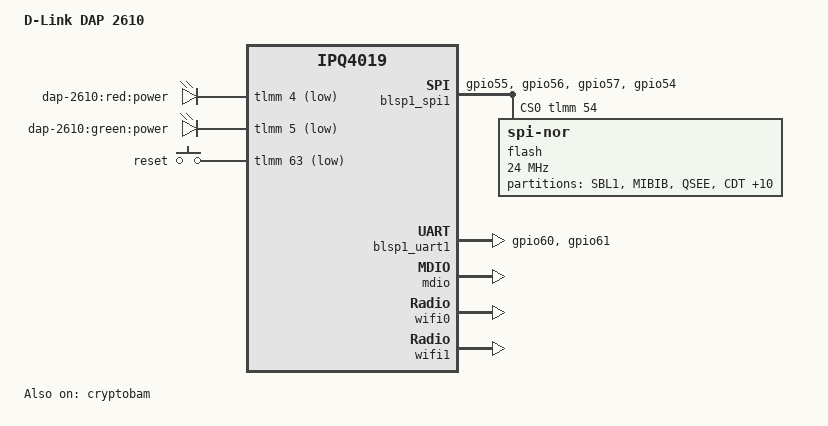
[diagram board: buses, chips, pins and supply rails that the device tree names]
// SPDX-License-Identifier: GPL-2.0-or-later OR MIT

#include "qcom-ipq4019.dtsi"
#include <dt-bindings/gpio/gpio.h>
#include <dt-bindings/input/input.h>
#include <dt-bindings/soc/qcom,tcsr.h>

/ {
	model = "D-Link DAP 2610";
	compatible = "dlink,dap-2610";

	aliases {
		led-boot = &led_red;
		led-failsafe = &led_red;
		led-running = &led_green;
		led-upgrade = &led_red;
	};

	soc {
		edma@c080000 {
			qcom,num_gmac = <1>;
			status = "okay";
		};

		tcsr@1949000 {
			compatible = "qcom,tcsr";
			reg = <0x1949000 0x100>;
			qcom,wifi_glb_cfg = <TCSR_WIFI_GLB_CFG>;
		};

		ess_tcsr@1953000 {
			compatible = "qcom,tcsr";
			reg = <0x1953000 0x1000>;
			qcom,ess-interface-select = <TCSR_ESS_PSGMII>;
		};

		tcsr@1957000 {
			compatible = "qcom,tcsr";
			reg = <0x1957000 0x100>;
			qcom,wifi_noc_memtype_m0_m2 = <TCSR_WIFI_NOC_MEMTYPE_M0_M2>;
		};

		rng@22000 {
			status = "okay";
		};

		crypto@8e3a000 {
			status = "okay";
		};

		watchdog@b017000 {
			status = "okay";
		};

		ess-switch@c000000 {
			status = "okay";
			switch_lan_bmp = <0x20>;
			switch_wan_bmp = <0x00>;
		};

		ess-psgmii@98000 {
			status = "okay";
		};
	};

	leds {
		compatible = "gpio-leds";

		led_red: red {
			label = "dap-2610:red:power";
			gpios = <&tlmm 4 GPIO_ACTIVE_LOW>;
		};

		led_green: green {
			label = "dap-2610:green:power";
			gpios = <&tlmm 5 GPIO_ACTIVE_LOW>;
		};
	};

	keys {
		compatible = "gpio-keys";

		reset {
			label = "reset";
			gpios = <&tlmm 63 GPIO_ACTIVE_LOW>;
			linux,code = <KEY_RESTART>;
		};
	};
};

&blsp1_spi1 {
	pinctrl-0 = <&spi_0_pins>;
	pinctrl-names = "default";
	status = "okay";
	cs-gpios = <&tlmm 54 GPIO_ACTIVE_HIGH>;

	flash@0 {
		compatible = "jedec,spi-nor";
		reg = <0>;
		spi-max-frequency = <24000000>;

		partitions {
			#address-cells = <1>;
			#size-cells = <1>;
			compatible = "fixed-partitions";

			partition@0 {
				label = "SBL1";
				reg = <0x0 0x40000>;
				read-only;
			};
			partition@40000 {
				label = "MIBIB";
				reg = <0x40000 0x20000>;
				read-only;
			};
			partition@60000 {
				label = "QSEE";
				reg = <0x60000 0x60000>;
				read-only;
			};
			partition@c0000 {
				label = "CDT";
				reg = <0xc0000 0x10000>;
				read-only;
			};
			partition@d0000 {
				label = "DDRPARAMS";
				reg = <0xd0000 0x10000>;
				read-only;
			};
			partition@e0000 {
				label = "APPSBLENV";
				reg = <0xe0000 0x10000>;
				read-only;
			};
			partition@f0000 {
				label = "APPSBL";
				reg = <0xf0000 0x80000>;
				read-only;
			};
			partition@170000 {
				label = "ART";
				reg = <0x170000 0x10000>;
				read-only;
			};
			partition@180000 {
				compatible = "wrg";
				label = "firmware";
				reg = <0x180000 0xdc0000>;
			};
			partition@fb0000 {
				label = "rgbd";
				reg = <0xfb0000 0x10000>;
				read-only;
			};
			partition@fc0000 {
				label = "bdcfg";
				reg = <0xfc0000 0x10000>;
				read-only;
			};
			partition@fd0000 {
				label = "langpack";
				reg = <0xfd0000 0x20000>;
				read-only;
			};
			partition@ff0000 {
				label = "certificate";
				reg = <0xff0000 0x10000>;
				read-only;
			};
			partition@f40000 {
				label = "captival";
				reg = <0xf40000 0x70000>;
				read-only;
			};
		};
	};
};

&blsp_dma {
	status = "okay";
};

&blsp1_uart1 {
	pinctrl-0 = <&serial_pins>;
	pinctrl-names = "default";
	status = "okay";
};

&cryptobam {
	status = "okay";
};

&gmac0 {
	qcom,phy_mdio_addr = <4>;
	qcom,poll_required = <1>;
	qcom,forced_speed = <1000>;
	qcom,forced_duplex = <1>;
	vlan_tag = <1 0x20>;
};

&mdio {
	status = "okay";
};

&tlmm {
	serial_pins: serial_pinmux {
		mux {
			pins = "gpio60", "gpio61";
			function = "blsp_uart0";
			bias-disable;
		};
	};

	spi_0_pins: spi_0_pinmux {
		mux {
			function = "blsp_spi0";
			pins = "gpio55", "gpio56", "gpio57";
			drive-strength = <12>;
			bias-disable;
		};
		mux_cs {
			function = "gpio";
			pins = "gpio54";
			drive-strength = <2>;
			bias-disable;
			output-high;
		};
	};
};

&wifi0 {
	status = "okay";
	qcom,ath10k-calibration-variant = "dlink,dap-2610";
};

&wifi1 {
	status = "okay";
	qcom,ath10k-calibration-variant = "dlink,dap-2610";
};
